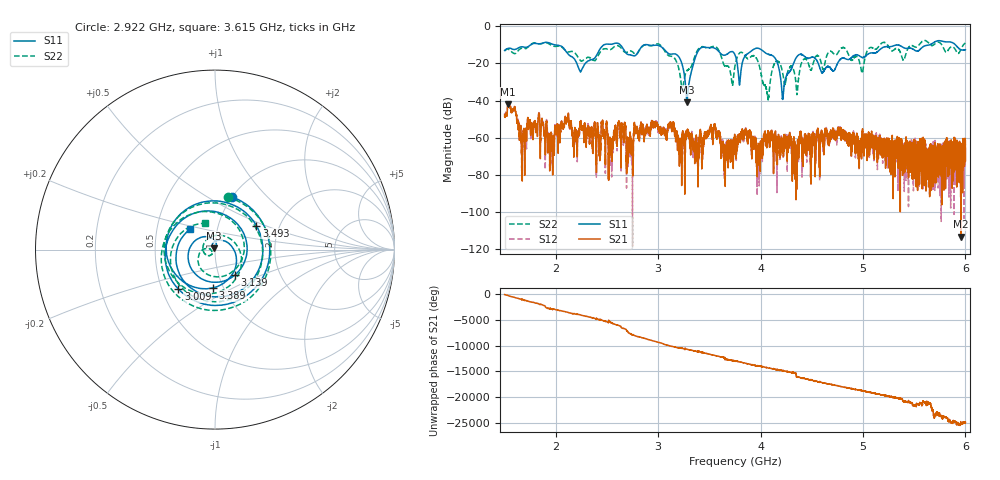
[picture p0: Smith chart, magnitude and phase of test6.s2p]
!Keysight Technologies N9923A: A.08.15
!Date: Monday, 19 February 2024 16:35:48
!Timezone: (GMT-05:00) Eastern Time (US & Canada)
!Model: N9923A
!Serial: MY52412730
!GPS Latitude:
!GPS Longitude:
!GPS TimeStamp: 0001-01-01 00:00:00Z
!GPS Seconds Since Last Read: 0
!CHECKSUM:1625102800
!Correction: S11(ON Q)S21(ON Q)S12(ON Q)S22(ON Q)
!S2P File: Measurements:S11,S21,S12,S22:
# Hz S DB R 50
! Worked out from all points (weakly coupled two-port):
!   10001 points, 1.5 GHz to 6 GHz, reference 50 ohm
!   highest |S21| = -41.89 dB at 1.531 GHz (marker M1); lowest = -113.2 dB at 5.956 GHz (marker M2)
!   lowest |S11| = -40.8 dB at 3.281 GHz (marker M3), VSWR 1.02, Z = 49.6 + j0.816 ohm
!   |S11| at or under -10 dB: start of sweep to 1.754 GHz; 1.992 GHz to 2.468 GHz (475.7 MHz wide, 21.3 % of centre); 2.901 GHz to 5.647 GHz (2.746 GHz wide, 64.2 % of centre) (the widest 3 of 6)
!   |S22| runs from -39.6 to -7.6 dB; largest |S21 - S12| = 0.0011
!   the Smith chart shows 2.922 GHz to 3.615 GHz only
!   S11 on the Smith chart (normalised r, x): 2.922 GHz: 1.00, +0.65; 3.009 GHz: 0.61, -0.29; 3.139 GHz: 1.19, -0.35; 3.389 GHz: 0.89, -0.40; 3.493 GHz: 1.52, +0.44; 3.615 GHz: 0.74, +0.18
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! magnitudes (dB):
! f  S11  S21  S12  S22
! 1.5 GHz  -13.0  -47.8  -47.4  -13.3
! 1.531 GHz  -11.9  -41.9  -42.1  -12.2
! 1.684 GHz  -11.1  -55.8  -57.2  -11.9
! 2.25 GHz  -23.6  -54.0  -53.7  -18.7
! 2.735 GHz  -15.5  -63.7  -70.1  -13.3
! 2.922 GHz  -10.3  -56.5  -56.8  -10.5
! 3 GHz  -10.3  -55.3  -57.0  -9.5
! 3.009 GHz  -10.5  -54.0  -56.2  -9.7
! 3.139 GHz  -14.9  -53.0  -53.1  -16.3
! 3.281 GHz  -40.8  -57.3  -57.1  -23.8
! 3.389 GHz  -13.4  -86.4  -69.2  -12.5
! 3.493 GHz  -11.5  -56.8  -57.1  -11.8
! 3.615 GHz  -14.9  -63.2  -62.8  -16.1
! 3.75 GHz  -15.4  -60.5  -65.2  -21.2
! 3.942 GHz  -12.1  -61.5  -59.8  -16.0
! 4.066 GHz  -14.9  -58.6  -61.5  -36.3
! 4.117 GHz  -15.9  -59.5  -59.2  -22.8
! 4.219 GHz  -37.7  -64.6  -67.5  -26.3
! 4.5 GHz  -16.6  -64.5  -61.6  -22.8
! 5.25 GHz  -11.0  -67.0  -63.7  -11.0
! 5.956 GHz  -12.6  -113.2  -69.1  -12.4
! 6 GHz  -12.6  -65.7  -65.1  -9.1
